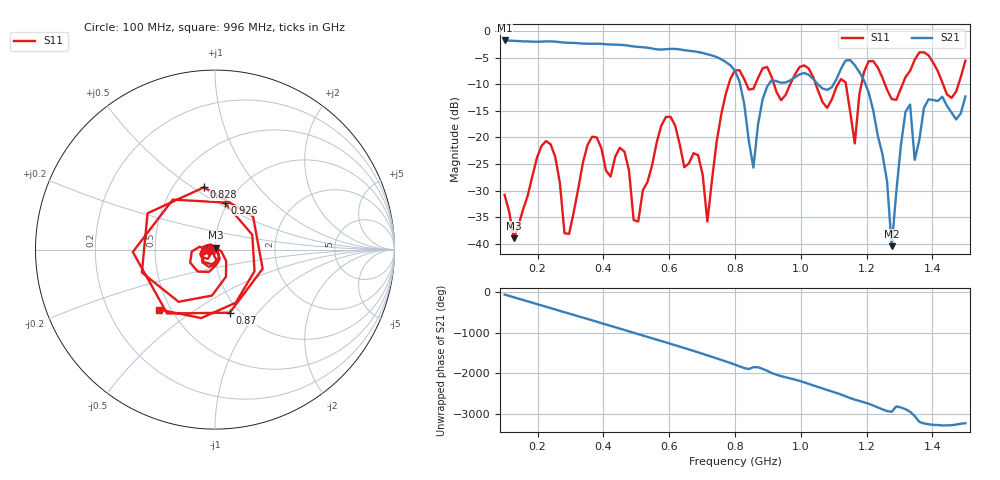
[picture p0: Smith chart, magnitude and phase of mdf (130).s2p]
! NanoVNA-App
! Date: 2025-09-25 15:39:26
! Start: 100MHz Stop: 1,5GHz Points: 101
! S-Parameter data: F S11 S21 S12 S22
# Hz S RI R 50
!  Frequency  S11_Real  S11_Imag  S21_Real  S21_Imag  S12_Real  S12_Imag  S22_Real  S22_Imag
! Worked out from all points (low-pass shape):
!   101 points, 100 MHz to 1.5 GHz, reference 50 ohm
!   highest |S21| = -1.80 dB at 100 MHz (marker M1); lowest = -40.4 dB at 1.276 GHz (marker M2)
!   |S21| within 3 dB of the highest: start of sweep to 739.1 MHz
!   lowest |S11| = -38.9 dB at 128 MHz (marker M3), VSWR 1.02, Z = 50.3 + j1.08 ohm
!   |S11| at or under -10 dB: start of sweep to 781 MHz; 1.045 GHz to 1.113 GHz (67.74 MHz wide, 6.28 % of centre); 1.256 GHz to 1.309 GHz (53.79 MHz wide, 4.19 % of centre) (the widest 3 of 7)
!   S12 and S22 are empty: the file has one direction only
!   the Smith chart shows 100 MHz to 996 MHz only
!   S11 on the Smith chart (normalised r, x): 100 MHz: 0.94, -0.01; 828 MHz: 0.70, +0.56; 870 MHz: 0.90, -0.73; 926 MHz: 0.96, +0.54; 996 MHz: 0.43, -0.36
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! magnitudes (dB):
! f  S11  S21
! 100 MHz  -30.8  -1.8
! 128 MHz  -38.9  -1.9
! 212 MHz  -21.6  -2.0
! 282 MHz  -38.0  -2.2
! 338 MHz  -24.7  -2.4
! 464 MHz  -22.6  -2.7
! 506 MHz  -35.8  -3.0
! 576 MHz  -17.8  -3.5
! 716 MHz  -35.8  -4.4
! 800 MHz  -7.4  -7.5
! 828 MHz  -9.1  -13.7
! 856 MHz  -10.9  -25.7
! 870 MHz  -8.9  -17.5
! 926 MHz  -11.4  -9.5
! 996 MHz  -6.8  -8.2
! 1.038 GHz  -8.7  -9.0
! 1.164 GHz  -21.1  -6.5
! 1.192 GHz  -7.7  -9.3
! 1.276 GHz  -12.8  -40.4
! 1.318 GHz  -8.7  -15.2
! 1.346 GHz  -5.4  -24.2
! 1.5 GHz  -5.6  -12.3
